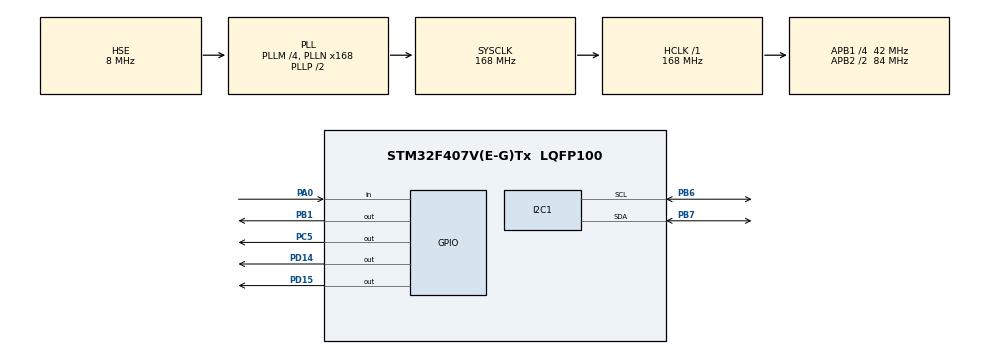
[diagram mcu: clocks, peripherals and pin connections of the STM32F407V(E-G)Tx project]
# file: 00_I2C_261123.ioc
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I2C1.I2C_Mode=I2C_Fast
Mcu.Family=STM32F4
Mcu.Name=STM32F407V(E-G)Tx
Mcu.Package=LQFP100
NVIC.PriorityGroup=NVIC_PRIORITYGROUP_4
PA0-WKUP.Signal=GPIO_Input
PA13.Mode=Serial_Wire
PA13.Signal=SYS_JTMS-SWDIO
PA14.Mode=Serial_Wire
PA14.Signal=SYS_JTCK-SWCLK
PB1.PinState=GPIO_PIN_SET
PB1.Signal=GPIO_Output
PB6.Mode=I2C
PB6.Signal=I2C1_SCL
PB7.Mode=I2C
PB7.Signal=I2C1_SDA
PC5.PinState=GPIO_PIN_SET
PC5.Signal=GPIO_Output
PD14.PinState=GPIO_PIN_SET
PD14.Signal=GPIO_Output
PD15.PinState=GPIO_PIN_SET
PD15.Signal=GPIO_Output
PH0-OSC_IN.Mode=HSE-External-Oscillator
PH0-OSC_IN.Signal=RCC_OSC_IN
PH1-OSC_OUT.Mode=HSE-External-Oscillator
PH1-OSC_OUT.Signal=RCC_OSC_OUT
ProjectManager.HeapSize=0x200
ProjectManager.StackSize=0x400
ProjectManager.TargetToolchain=CMake
RCC.48MHZClocksFreq_Value=84000000
RCC.AHBFreq_Value=168000000
RCC.APB1CLKDivider=RCC_HCLK_DIV4
RCC.APB1Freq_Value=42000000
RCC.APB1TimFreq_Value=84000000
RCC.APB2CLKDivider=RCC_HCLK_DIV2
RCC.APB2Freq_Value=84000000
RCC.APB2TimFreq_Value=168000000
RCC.CortexFreq_Value=168000000
RCC.HCLKFreq_Value=168000000
RCC.HSE_VALUE=8000000
RCC.HSI_VALUE=16000000
RCC.LSE_VALUE=32768
RCC.PLLM=4
RCC.PLLN=168
RCC.PLLSourceVirtual=RCC_PLLSOURCE_HSE
RCC.SYSCLKFreq_VALUE=168000000
RCC.SYSCLKSource=RCC_SYSCLKSOURCE_PLLCLK
RCC.VCOOutputFreq_Value=336000000
board=custom

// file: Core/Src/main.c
/* USER CODE BEGIN Header */
/**
  ******************************************************************************
  * @file           : main.c
  * @brief          : Main program body
  ******************************************************************************
  * @attention
  *
  * Copyright (c) 2026 STMicroelectronics.
  * All rights reserved.
  *
  * This software is licensed under terms that can be found in the LICENSE file
  * in the root directory of this software component.
  * If no LICENSE file comes with this software, it is provided AS-IS.
  *
  ******************************************************************************
  */
/* USER CODE END Header */
#include "main.h"
#include "i2c.h"
#include "gpio.h"
#include "stm32f407xx.h"
#include "stm32f4xx_hal_gpio.h"

/* USER CODE BEGIN Includes */
#include "ascii_fonts.h"
#include "cat_anim.h"
#include "cat_anim2.h"
#include "cat_anim3.h"
#include "video_anim.h"
#include <string.h>
/* USER CODE END Includes */

/* USER CODE BEGIN PV */
#define OLED_ADDR 0x78
#define OLED_WIDTH 128
#define OLED_PAGES 8

void OLED_WriteCmd(uint8_t cmd) {
    HAL_I2C_Mem_Write(&hi2c1, OLED_ADDR, 0x00, I2C_MEMADD_SIZE_8BIT, &cmd, 1, 100);
}

// 设置光标：page (0~7), col (0~127)
void OLED_SetCursor(uint8_t page, uint8_t col) {
    OLED_WriteCmd(0xB0 | (page & 0x07));
    OLED_WriteCmd(0x00 | (col & 0x0F));
    OLED_WriteCmd(0x10 | ((col & 0xF0) >> 4));
}

// 清屏（必须清屏，否则屏幕上电会显示随机杂点）
void OLED_Clear(void) {
    uint8_t zero_buf[OLED_WIDTH] = {0};
    for (uint8_t page = 0; page < OLED_PAGES; page++) {
        OLED_SetCursor(page, 0);
        HAL_I2C_Mem_Write(&hi2c1, OLED_ADDR, 0x40, I2C_MEMADD_SIZE_8BIT, zero_buf, OLED_WIDTH, 100);
    }
}

void OLED_Init(void) {
    HAL_Delay(100);
    OLED_WriteCmd(0xAE);  // 关显示
    OLED_WriteCmd(0x8D);  // 电荷泵设置
    OLED_WriteCmd(0x14);  // 开启内部电荷泵
    OLED_WriteCmd(0x20);  // 内存地址模式
    OLED_WriteCmd(0x02);  // 页地址模式
    OLED_WriteCmd(0xA1);  // 左右正常方向（若镜像请改为0xA0）
    OLED_WriteCmd(0xC8);  // 上下正常方向（若倒置请改为0xC0）
    OLED_WriteCmd(0x81);  // 对比度
    OLED_WriteCmd(0xCF);
    OLED_WriteCmd(0xAF);  // 开显示
    OLED_Clear();         // 清空显存
}

// 在指定页(page)和列(col)显示一个指定字号的 ASCII 字符
void OLED_DrawChar(uint8_t page, uint8_t col, char ch, const AsciiFont_t* font) {
    if (font == NULL || col + font->width > OLED_WIDTH || page + font->pages > OLED_PAGES) {
        return;
    }

    const uint8_t* glyph = AsciiFont_GetCharData(font, ch);
    if (glyph == NULL) {
        return;
    }

    for (uint8_t p = 0; p < font->pages; p++) {
        OLED_SetCursor(page + p, col);
        HAL_I2C_Mem_Write(&hi2c1, OLED_ADDR, 0x40, I2C_MEMADD_SIZE_8BIT, (uint8_t*)&glyph[p * font->width], font->width, 100);
    }
}

// 在指定页(page)和列(col)显示 ASCII 字符串（支持 '\n' 与自动换行）
void OLED_DrawString(uint8_t page, uint8_t col, const char* str, const AsciiFont_t* font) {
    if (str == NULL || font == NULL) {
        return;
    }

    uint8_t cur_page = page;
    uint8_t cur_col = col;

    while (*str != '\0') {
        if (*str == '\r') {
            str++;
            continue;
        }
        if (*str == '\n') {
            cur_col = 0;
            cur_page += font->pages;
            str++;
            continue;
        }

        if (cur_col + font->width > OLED_WIDTH) {
            cur_col = 0;
            cur_page += font->pages;
        }
        if (cur_page + font->pages > OLED_PAGES) {
            break;
        }

        OLED_DrawChar(cur_page, cur_col, *str, font);
        cur_col += font->width;
        str++;
    }
}

// 在屏幕正中央（水平与垂直均居中）显示单行 ASCII 字符串
void OLED_DrawStringCentered(const char* str, const AsciiFont_t* font) {
    if (str == NULL || font == NULL || font->width == 0 || font->pages >= OLED_PAGES) {
        return;
    }

    size_t len = strlen(str);
    uint16_t text_width = (uint16_t)(len * font->width);
    uint8_t col = (text_width < OLED_WIDTH) ? (uint8_t)((OLED_WIDTH - text_width) / 2U) : 0U;
    uint8_t page = (uint8_t)((OLED_PAGES - font->pages) / 2U);

    OLED_DrawString(page, col, str, font);
}

// 在指定页(page)和列(col)显示指定尺寸的位图（列行式、低位在上 LSB-Top）
void OLED_DrawBitmap(uint8_t page, uint8_t col, uint8_t width, uint8_t pages, const uint8_t* data) {
    if (data == NULL || width == 0 || pages == 0 || col + width > OLED_WIDTH || page + pages > OLED_PAGES) {
        return;
    }

    for (uint8_t p = 0; p < pages; p++) {
        OLED_SetCursor(page + p, col);
        HAL_I2C_Mem_Write(&hi2c1, OLED_ADDR, 0x40, I2C_MEMADD_SIZE_8BIT, (uint8_t*)&data[(uint16_t)p * width], width, 100);
    }
}

typedef struct
{
    uint8_t col;
    uint8_t width;
    uint8_t pages;
    uint16_t frame_bytes;
    uint16_t frame_count;
    const uint8_t* frames;
    const uint16_t* delays;
    uint16_t frame_idx;
    uint32_t last_tick;
} OledAnimPlayer_t;

void OLED_AnimInit(OledAnimPlayer_t* player, uint32_t now) {
    player->frame_idx = 0;
    player->last_tick = now;
    OLED_DrawBitmap(0, player->col, player->width, player->pages, player->frames);
}

void OLED_AnimStep(OledAnimPlayer_t* player, uint32_t now) {
    if ((uint32_t)(now - player->last_tick) >= player->delays[player->frame_idx]) {
        player->last_tick = now;
        player->frame_idx = (uint16_t)((player->frame_idx + 1U) % player->frame_count);
        OLED_DrawBitmap(0, player->col, player->width, player->pages,
                        &player->frames[(uint32_t)player->frame_idx * player->frame_bytes]);
    }
}

typedef enum
{
    OLED_MODE_CAT0 = 0,
    OLED_MODE_CAT1,
    OLED_MODE_CAT2,
    OLED_MODE_3CATS,
    OLED_MODE_COUNT
} OledDisplayMode_t;

// 非阻塞 PA0 按键消抖检测（自动适配外部上拉或下拉电路，仅在按下瞬间返回 1）
uint8_t Key_PA0_Pressed(GPIO_PinState idle_state, uint32_t now) {
    static GPIO_PinState last_raw = GPIO_PIN_RESET;
    static GPIO_PinState stable_state = GPIO_PIN_RESET;
    static uint8_t inited = 0;
    static uint32_t change_tick = 0;

    GPIO_PinState raw = HAL_GPIO_ReadPin(GPIOA, GPIO_PIN_0);
    if (!inited) {
        inited = 1;
        last_raw = raw;
        stable_state = idle_state;
        change_tick = now;
        return 0;
    }

    if (raw != last_raw) {
        last_raw = raw;
        change_tick = now;
    }

    if ((uint32_t)(now - change_tick) >= 20U && raw != stable_state) {
        stable_state = raw;
        if (stable_state != idle_state) {
            return 1;
        }
    }
    return 0;
}
/* USER CODE END PV */

void SystemClock_Config(void);

int main(void) {

    /* MCU Configuration--------------------------------------------------------*/

    /* Reset of all peripherals, Initializes the Flash interface and the Systick. */
    HAL_Init();

    /* Configure the system clock */
    SystemClock_Config();

    /* Initialize all configured peripherals */
    MX_GPIO_Init();
    MX_I2C1_Init();
    /* USER CODE BEGIN 2 */
    /* USER CODE BEGIN 2 */
    // 1. 确保 L2, L3, L4 全部熄灭（输出高电平）
    HAL_GPIO_WritePin(GPIOB, GPIO_PIN_1, GPIO_PIN_SET);
    HAL_GPIO_WritePin(GPIOD, GPIO_PIN_14 | GPIO_PIN_15, GPIO_PIN_SET);
    // 默认先熄灭 L1
    HAL_GPIO_WritePin(GPIOC, GPIO_PIN_5, GPIO_PIN_SET);

    // 2. 检测屏幕是否在线
    uint8_t oled_ready = 0;
    OledDisplayMode_t display_mode = OLED_MODE_CAT0;
    GPIO_PinState pa0_idle = HAL_GPIO_ReadPin(GPIOA, GPIO_PIN_0);

    OledAnimPlayer_t anim_cool = {
            .col = (OLED_WIDTH - CAT_ANIM3_WIDTH) / 2U,
            .width = CAT_ANIM3_WIDTH,
            .pages = CAT_ANIM3_PAGES,
            .frame_bytes = CAT_ANIM3_FRAME_BYTES,
            .frame_count = CAT_ANIM3_FRAME_COUNT,
            .frames = (const uint8_t*)CatAnim3_Frames,
            .delays = CatAnim3_FrameDelays,
    };
    OledAnimPlayer_t anim_cat1 = {
            .col = (OLED_WIDTH - CAT_ANIM_WIDTH) / 2U,
            .width = CAT_ANIM_WIDTH,
            .pages = CAT_ANIM_PAGES,
            .frame_bytes = CAT_ANIM_FRAME_BYTES,
            .frame_count = CAT_ANIM_FRAME_COUNT,
            .frames = (const uint8_t*)CatAnim_Frames,
            .delays = CatAnim_FrameDelays,
    };
    OledAnimPlayer_t anim_cat2 = {
            .col = (OLED_WIDTH - CAT_ANIM2_WIDTH) / 2U,
            .width = CAT_ANIM2_WIDTH,
            .pages = CAT_ANIM2_PAGES,
            .frame_bytes = CAT_ANIM2_FRAME_BYTES,
            .frame_count = CAT_ANIM2_FRAME_COUNT,
            .frames = (const uint8_t*)CatAnim2_Frames,
            .delays = CatAnim2_FrameDelays,
    };
    OledAnimPlayer_t anim_video = {
            .col = (OLED_WIDTH - VIDEO_ANIM_WIDTH) / 2U,
            .width = VIDEO_ANIM_WIDTH,
            .pages = VIDEO_ANIM_PAGES,
            .frame_bytes = VIDEO_ANIM_FRAME_BYTES,
            .frame_count = VIDEO_ANIM_FRAME_COUNT,
            .frames = (const uint8_t*)VideoAnim_Frames,
            .delays = VideoAnim_FrameDelays,
    };

    if (HAL_I2C_IsDeviceReady(&hi2c1, OLED_ADDR, 3, 100) == HAL_OK) {
        // 通信成功：只点亮 L1 (PC5 输出低电平)
        HAL_GPIO_WritePin(GPIOC, GPIO_PIN_5, GPIO_PIN_RESET);

        OLED_Init();
        oled_ready = 1;

        // 开机默认只居中显示墨镜猫
        OLED_AnimInit(&anim_cool, HAL_GetTick());
    }
    /* USER CODE END 2 */
    /* USER CODE END 2 */

    /* Infinite loop */
    /* USER CODE BEGIN WHILE */
    while (1) {
        if (oled_ready) {
            uint32_t now = HAL_GetTick();
            if (Key_PA0_Pressed(pa0_idle, now)) {
                display_mode = (OledDisplayMode_t)((display_mode + 1U) % OLED_MODE_COUNT);
                OLED_Clear();
                switch (display_mode) {
                case OLED_MODE_CAT0:
                    OLED_AnimInit(&anim_cool, now);
                    break;
                case OLED_MODE_CAT1:
                    OLED_AnimInit(&anim_cat1, now);
                    break;
                case OLED_MODE_CAT2:
                    OLED_AnimInit(&anim_cat2, now);
                    break;
                case OLED_MODE_3CATS:
                    OLED_AnimInit(&anim_video, now);
                    break;
                default:
                    break;
                }
            }

            switch (display_mode) {
            case OLED_MODE_CAT0:
                OLED_AnimStep(&anim_cool, now);
                break;
            case OLED_MODE_CAT1:
                OLED_AnimStep(&anim_cat1, now);
                break;
            case OLED_MODE_CAT2:
                OLED_AnimStep(&anim_cat2, now);
                break;
            case OLED_MODE_3CATS:
                OLED_AnimStep(&anim_video, now);
                break;
            default:
                break;
            }
        }
        /* USER CODE END WHILE */

    }
}

void SystemClock_Config(void) {
    RCC_OscInitTypeDef RCC_OscInitStruct = {0};
    RCC_ClkInitTypeDef RCC_ClkInitStruct = {0};

    /** Configure the main internal regulator output voltage
  */
    __HAL_RCC_PWR_CLK_ENABLE();
    __HAL_PWR_VOLTAGESCALING_CONFIG(PWR_REGULATOR_VOLTAGE_SCALE1);

    /** Initializes the RCC Oscillators according to the specified parameters
  * in the RCC_OscInitTypeDef structure.
  */
    RCC_OscInitStruct.OscillatorType = RCC_OSCILLATORTYPE_HSE;
    RCC_OscInitStruct.HSEState = RCC_HSE_ON;
    RCC_OscInitStruct.PLL.PLLState = RCC_PLL_ON;
    RCC_OscInitStruct.PLL.PLLSource = RCC_PLLSOURCE_HSE;
    RCC_OscInitStruct.PLL.PLLM = 4;
    RCC_OscInitStruct.PLL.PLLN = 168;
    RCC_OscInitStruct.PLL.PLLP = RCC_PLLP_DIV2;
    RCC_OscInitStruct.PLL.PLLQ = 4;
    if (HAL_RCC_OscConfig(&RCC_OscInitStruct) != HAL_OK) {
        Error_Handler();
    }

    /** Initializes the CPU, AHB and APB buses clocks
  */
    RCC_ClkInitStruct.ClockType = RCC_CLOCKTYPE_HCLK | RCC_CLOCKTYPE_SYSCLK | RCC_CLOCKTYPE_PCLK1 | RCC_CLOCKTYPE_PCLK2;
    RCC_ClkInitStruct.SYSCLKSource = RCC_SYSCLKSOURCE_PLLCLK;
    RCC_ClkInitStruct.AHBCLKDivider = RCC_SYSCLK_DIV1;
    RCC_ClkInitStruct.APB1CLKDivider = RCC_HCLK_DIV4;
    RCC_ClkInitStruct.APB2CLKDivider = RCC_HCLK_DIV2;

    if (HAL_RCC_ClockConfig(&RCC_ClkInitStruct, FLASH_LATENCY_5) != HAL_OK) {
        Error_Handler();
    }
}

void Error_Handler(void) {
    __disable_irq();
    while (1) {
    }
}
